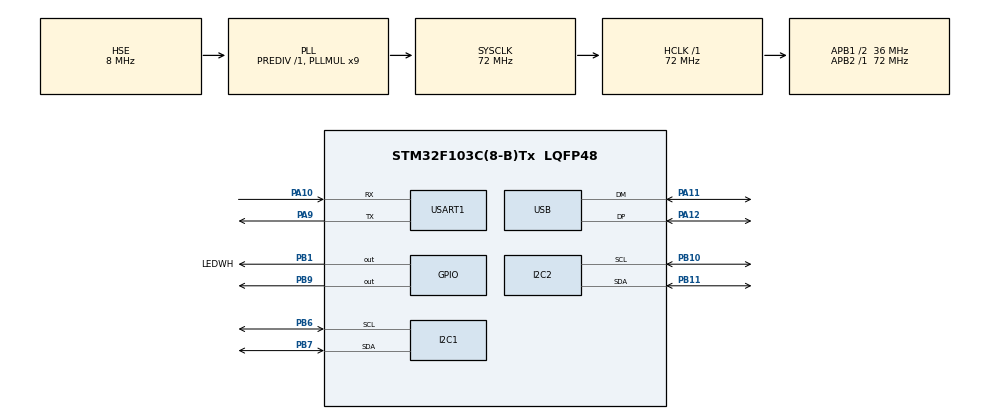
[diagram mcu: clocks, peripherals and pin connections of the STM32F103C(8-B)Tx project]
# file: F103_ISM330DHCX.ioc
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Mcu.Family=STM32F1
Mcu.Name=STM32F103C(8-B)Tx
Mcu.Package=LQFP48
NVIC.PriorityGroup=NVIC_PRIORITYGROUP_4
NVIC.USART1_IRQn=true\:0\:0\:false\:false\:true\:true\:true\:true
NVIC.USB_LP_CAN1_RX0_IRQn=true\:0\:0\:false\:false\:true\:false\:true\:true
PA10.Mode=Asynchronous
PA10.Signal=USART1_RX
PA11.Mode=Device
PA11.Signal=USB_DM
PA12.Mode=Device
PA12.Signal=USB_DP
PA13.Mode=Serial_Wire
PA13.Signal=SYS_JTMS-SWDIO
PA14.Mode=Serial_Wire
PA14.Signal=SYS_JTCK-SWCLK
PA9.Mode=Asynchronous
PA9.Signal=USART1_TX
PB1.GPIO_Label=LEDWH
PB1.Signal=GPIO_Output
PB10.Mode=I2C
PB10.Signal=I2C2_SCL
PB11.Mode=I2C
PB11.Signal=I2C2_SDA
PB6.Mode=I2C
PB6.Signal=I2C1_SCL
PB7.Mode=I2C
PB7.Signal=I2C1_SDA
PB9.Signal=GPIO_Output
PD0-OSC_IN.Mode=HSE-External-Oscillator
PD0-OSC_IN.Signal=RCC_OSC_IN
PD1-OSC_OUT.Mode=HSE-External-Oscillator
PD1-OSC_OUT.Signal=RCC_OSC_OUT
ProjectManager.HeapSize=0x200
ProjectManager.StackSize=0x400
ProjectManager.TargetToolchain=STM32CubeIDE
RCC.AHBFreq_Value=72000000
RCC.APB1CLKDivider=RCC_HCLK_DIV2
RCC.APB1Freq_Value=36000000
RCC.APB1TimFreq_Value=72000000
RCC.APB2Freq_Value=72000000
RCC.APB2TimFreq_Value=72000000
RCC.HCLKFreq_Value=72000000
RCC.PLLMUL=RCC_PLL_MUL9
RCC.SYSCLKFreq_VALUE=72000000
RCC.SYSCLKSource=RCC_SYSCLKSOURCE_PLLCLK
RCC.USBFreq_Value=48000000
RCC.USBPrescaler=RCC_USBCLKSOURCE_PLL_DIV1_5
USART1.VirtualMode=VM_ASYNC
USB_DEVICE.CLASS_NAME_FS=CDC
USB_DEVICE.VirtualMode=Cdc
USB_DEVICE.VirtualModeFS=Cdc_FS
VP_CRC_VS_CRC.Mode=CRC_Activate
VP_USB_DEVICE_VS_USB_DEVICE_CDC_FS.Mode=CDC_FS
board=custom

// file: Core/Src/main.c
/* USER CODE BEGIN Header */
/**
  ******************************************************************************
  * @file           : main.c
  * @brief          : Main program body
  ******************************************************************************
  * @attention
  *
  * Copyright (c) 2022 STMicroelectronics.
  * All rights reserved.
  *
  * This software is licensed under terms that can be found in the LICENSE file
  * in the root directory of this software component.
  * If no LICENSE file comes with this software, it is provided AS-IS.
  *
  ******************************************************************************
  */
/* USER CODE END Header */
#include "main.h"
#include "usb_device.h"

/* USER CODE BEGIN Includes */

#include <string.h>
#include <stdio.h>
#include "ism330dhcx_reg.h"
#include "stm32f1xx_hal.h"
#include "usbd_cdc_if.h"
/* USER CODE END Includes */

/* USER CODE BEGIN PD */
#define	BOOT_TIME          10 //ms
#define	U1_BUFFER_SIZE 100
/* USER CODE END PD */

 CRC_HandleTypeDef hcrc;

I2C_HandleTypeDef hi2c1;
I2C_HandleTypeDef hi2c2;

UART_HandleTypeDef huart1;

/* USER CODE BEGIN PV */
static int16_t data_raw_acceleration[3];
static int16_t data_raw_angular_rate[3];
static int16_t data_raw_temperature;
static float acceleration_mg[3];
static float angular_rate_mdps[3];
static float temperature_degC;
static uint8_t whoamI, rst;
static uint8_t tx_buffer[1000];
uint8_t result;
char buffer[U1_BUFFER_SIZE];
uint8_t *p_usb_rx=NULL;
uint16_t *p_usb_len=NULL;
/* USER CODE END PV */

void SystemClock_Config(void);
static void MX_GPIO_Init(void);
static void MX_CRC_Init(void);
static void MX_USART1_UART_Init(void);
static void MX_I2C1_Init(void);
static void MX_I2C2_Init(void);
/* USER CODE BEGIN PFP */
/*
 *   WARNING:
 *   Functions declare in this section are defined at the end of this file
 *   and are strictly related to the hardware platform used.
 *
 */
static int32_t platform_write(void *handle, uint8_t reg, const uint8_t *bufp,
                              uint16_t len);
static int32_t platform_read(void *handle, uint8_t reg, uint8_t *bufp,
                             uint16_t len);

void ism330dhcx_read_data_polling(void);
void I2C_Scanner(void);
/* USER CODE END PFP */

int main(void)
{

  /* MCU Configuration--------------------------------------------------------*/

  /* Reset of all peripherals, Initializes the Flash interface and the Systick. */
  HAL_Init();

  /* USER CODE BEGIN Init */
  HAL_GPIO_WritePin(GPIOB, GPIO_PIN_9, GPIO_PIN_SET);
  HAL_Delay(100);
  HAL_GPIO_WritePin(GPIOB, GPIO_PIN_9, GPIO_PIN_RESET);
  HAL_Delay(100);
  HAL_GPIO_WritePin(GPIOB, GPIO_PIN_9, GPIO_PIN_SET);

  /* USER CODE END Init */

  /* Configure the system clock */
  SystemClock_Config();

  /* Initialize all configured peripherals */
  MX_GPIO_Init();
  MX_CRC_Init();
  MX_USART1_UART_Init();
  MX_USB_DEVICE_Init();
  MX_I2C1_Init();
  MX_I2C2_Init();
  /* USER CODE BEGIN 2 */

  I2C_Scanner();
  ism330dhcx_read_data_polling();
  /* USER CODE END 2 */

  /* Infinite loop */
  while (1)
  {

    /* USER CODE BEGIN 3 */
	  HAL_GPIO_WritePin(GPIOB, GPIO_PIN_1,GPIO_PIN_RESET);
	  HAL_Delay(100);
	  HAL_GPIO_WritePin(GPIOB, GPIO_PIN_1,GPIO_PIN_SET);
	  HAL_Delay(100);
  }
  /* USER CODE END 3 */
}

void SystemClock_Config(void)
{
  RCC_OscInitTypeDef RCC_OscInitStruct = {0};
  RCC_ClkInitTypeDef RCC_ClkInitStruct = {0};
  RCC_PeriphCLKInitTypeDef PeriphClkInit = {0};

  /** Initializes the RCC Oscillators according to the specified parameters
  * in the RCC_OscInitTypeDef structure.
  */
  RCC_OscInitStruct.OscillatorType = RCC_OSCILLATORTYPE_HSE;
  RCC_OscInitStruct.HSEState = RCC_HSE_ON;
  RCC_OscInitStruct.HSEPredivValue = RCC_HSE_PREDIV_DIV1;
  RCC_OscInitStruct.HSIState = RCC_HSI_ON;
  RCC_OscInitStruct.PLL.PLLState = RCC_PLL_ON;
  RCC_OscInitStruct.PLL.PLLSource = RCC_PLLSOURCE_HSE;
  RCC_OscInitStruct.PLL.PLLMUL = RCC_PLL_MUL9;
  if (HAL_RCC_OscConfig(&RCC_OscInitStruct) != HAL_OK)
  {
    Error_Handler();
  }

  /** Initializes the CPU, AHB and APB buses clocks
  */
  RCC_ClkInitStruct.ClockType = RCC_CLOCKTYPE_HCLK|RCC_CLOCKTYPE_SYSCLK
                              |RCC_CLOCKTYPE_PCLK1|RCC_CLOCKTYPE_PCLK2;
  RCC_ClkInitStruct.SYSCLKSource = RCC_SYSCLKSOURCE_PLLCLK;
  RCC_ClkInitStruct.AHBCLKDivider = RCC_SYSCLK_DIV1;
  RCC_ClkInitStruct.APB1CLKDivider = RCC_HCLK_DIV2;
  RCC_ClkInitStruct.APB2CLKDivider = RCC_HCLK_DIV1;

  if (HAL_RCC_ClockConfig(&RCC_ClkInitStruct, FLASH_LATENCY_2) != HAL_OK)
  {
    Error_Handler();
  }
  PeriphClkInit.PeriphClockSelection = RCC_PERIPHCLK_USB;
  PeriphClkInit.UsbClockSelection = RCC_USBCLKSOURCE_PLL_DIV1_5;
  if (HAL_RCCEx_PeriphCLKConfig(&PeriphClkInit) != HAL_OK)
  {
    Error_Handler();
  }
}

static void MX_CRC_Init(void)
{

  hcrc.Instance = CRC;
  if (HAL_CRC_Init(&hcrc) != HAL_OK)
  {
    Error_Handler();
  }

}

static void MX_I2C1_Init(void)
{

  hi2c1.Instance = I2C1;
  hi2c1.Init.ClockSpeed = 100000;
  hi2c1.Init.DutyCycle = I2C_DUTYCYCLE_2;
  hi2c1.Init.OwnAddress1 = 0;
  hi2c1.Init.AddressingMode = I2C_ADDRESSINGMODE_7BIT;
  hi2c1.Init.DualAddressMode = I2C_DUALADDRESS_DISABLE;
  hi2c1.Init.OwnAddress2 = 0;
  hi2c1.Init.GeneralCallMode = I2C_GENERALCALL_DISABLE;
  hi2c1.Init.NoStretchMode = I2C_NOSTRETCH_DISABLE;
  if (HAL_I2C_Init(&hi2c1) != HAL_OK)
  {
    Error_Handler();
  }

}

static void MX_I2C2_Init(void)
{

  hi2c2.Instance = I2C2;
  hi2c2.Init.ClockSpeed = 100000;
  hi2c2.Init.DutyCycle = I2C_DUTYCYCLE_2;
  hi2c2.Init.OwnAddress1 = 0;
  hi2c2.Init.AddressingMode = I2C_ADDRESSINGMODE_7BIT;
  hi2c2.Init.DualAddressMode = I2C_DUALADDRESS_DISABLE;
  hi2c2.Init.OwnAddress2 = 0;
  hi2c2.Init.GeneralCallMode = I2C_GENERALCALL_DISABLE;
  hi2c2.Init.NoStretchMode = I2C_NOSTRETCH_DISABLE;
  if (HAL_I2C_Init(&hi2c2) != HAL_OK)
  {
    Error_Handler();
  }

}

static void MX_USART1_UART_Init(void)
{

  huart1.Instance = USART1;
  huart1.Init.BaudRate = 115200;
  huart1.Init.WordLength = UART_WORDLENGTH_8B;
  huart1.Init.StopBits = UART_STOPBITS_1;
  huart1.Init.Parity = UART_PARITY_NONE;
  huart1.Init.Mode = UART_MODE_TX_RX;
  huart1.Init.HwFlowCtl = UART_HWCONTROL_NONE;
  huart1.Init.OverSampling = UART_OVERSAMPLING_16;
  if (HAL_UART_Init(&huart1) != HAL_OK)
  {
    Error_Handler();
  }

}

static void MX_GPIO_Init(void)
{
  GPIO_InitTypeDef GPIO_InitStruct = {0};

  /* GPIO Ports Clock Enable */
  __HAL_RCC_GPIOD_CLK_ENABLE();
  __HAL_RCC_GPIOB_CLK_ENABLE();
  __HAL_RCC_GPIOA_CLK_ENABLE();

  /*Configure GPIO pin Output Level */
  HAL_GPIO_WritePin(GPIOB, LEDWH_Pin|GPIO_PIN_9, GPIO_PIN_RESET);

  /*Configure GPIO pins : LEDWH_Pin PB9 */
  GPIO_InitStruct.Pin = LEDWH_Pin|GPIO_PIN_9;
  GPIO_InitStruct.Mode = GPIO_MODE_OUTPUT_PP;
  GPIO_InitStruct.Pull = GPIO_NOPULL;
  GPIO_InitStruct.Speed = GPIO_SPEED_FREQ_LOW;
  HAL_GPIO_Init(GPIOB, &GPIO_InitStruct);

}

/* USER CODE BEGIN 4 */

void I2C_Scanner(void){
	char buffer[100];
	uint8_t i,n;
	  HAL_GPIO_WritePin(LEDWH_GPIO_Port, LEDWH_Pin, GPIO_PIN_SET);
	  HAL_Delay(200);
	  HAL_GPIO_WritePin(LEDWH_GPIO_Port, LEDWH_Pin, GPIO_PIN_RESET);
	  n=snprintf(buffer,U1_BUFFER_SIZE-1,"\r\nI2C BUS #:");
	  HAL_UART_Transmit(&huart1, (uint8_t *) buffer, n, 100);
	 	for (i=1; i<128; i++)
	 	{
	 	  result = HAL_I2C_IsDeviceReady(&hi2c1, (uint16_t)(i<<1), 2, 2);
	 	  if (result != HAL_OK) // HAL_ERROR or HAL_BUSY or HAL_TIMEOUT
	 	  {
	 		  n=snprintf(buffer,U1_BUFFER_SIZE-1,".");
	 		  HAL_UART_Transmit(&huart1, (uint8_t *) buffer, n, 100);
	 		  // No ACK received at that address
	 	  }
	 	  if (result == HAL_OK)
	 	  {
	 		  n=snprintf(buffer,U1_BUFFER_SIZE-1,"[0x%X]", i);
	 		  HAL_UART_Transmit(&huart1, (uint8_t *) buffer, n, 100);
	 		  // Received an ACK at that address
	 	  }
	 	}
	 	n=snprintf(buffer,U1_BUFFER_SIZE-1,"\r\nI2C BUS #2:");
	 	HAL_UART_Transmit(&huart1, (uint8_t *) buffer, n, 100);
	 	HAL_Delay(200);
	 	for (i=1; i<128; i++)
	 	{
	 	  result = HAL_I2C_IsDeviceReady(&hi2c2, (uint16_t)(i<<1), 2, 2);
	 	  if (result != HAL_OK) // HAL_ERROR or HAL_BUSY or HAL_TIMEOUT
	 	  {
	 		  n=snprintf(buffer,U1_BUFFER_SIZE-1,".");
	 		  HAL_UART_Transmit(&huart1, (uint8_t *) buffer, n, 100);
	 		  // No ACK received at that address
	 	  }
	 	  if (result == HAL_OK)
	 	  {
	 		  n=snprintf(buffer,U1_BUFFER_SIZE-1,"[0x%X]", i);
	 		  HAL_UART_Transmit(&huart1, (uint8_t *) buffer, n, 100);
	 		  // Received an ACK at that address
	 	  }
	 	}
	 	HAL_Delay(200);

}

void ism330dhcx_read_data_polling(void)
{
uint8_t led_state=GPIO_PIN_RESET;

  stmdev_ctx_t dev_ctx;

  /* Initialize mems driver interface */
  dev_ctx.write_reg = platform_write;
  dev_ctx.read_reg = platform_read;
  dev_ctx.handle = &hi2c2;
  /* Wait sensor boot time */
  HAL_Delay(BOOT_TIME);
  /* Check device ID */
  ism330dhcx_device_id_get(&dev_ctx, &whoamI);

  if (whoamI != ISM330DHCX_ID)
    while (1);

  /* Restore default configuration */
  ism330dhcx_reset_set(&dev_ctx, PROPERTY_ENABLE);

  do {
    ism330dhcx_reset_get(&dev_ctx, &rst);
  } while (rst);

  /* Start device configuration. */
  ism330dhcx_device_conf_set(&dev_ctx, PROPERTY_ENABLE);
  /* Enable Block Data Update */
  ism330dhcx_block_data_update_set(&dev_ctx, PROPERTY_ENABLE);
  /* Set Output Data Rate 52Hz; shall I increase? */
  ism330dhcx_xl_data_rate_set(&dev_ctx, ISM330DHCX_XL_ODR_52Hz);
  ism330dhcx_gy_data_rate_set(&dev_ctx, ISM330DHCX_GY_ODR_52Hz);
  /* Set full scale;Csabi needs most sensitive settings-to be revised */
  ism330dhcx_xl_full_scale_set(&dev_ctx, ISM330DHCX_2g);
  ism330dhcx_gy_full_scale_set(&dev_ctx, ISM330DHCX_4000dps);
  /* Configure filtering chain(No aux interface)
   * What is it?
   * Accelerometer - LPF1 + LPF2 path
   * What is it?
   */
  ism330dhcx_xl_hp_path_on_out_set(&dev_ctx, ISM330DHCX_LP_ODR_DIV_100);
  ism330dhcx_xl_filter_lp2_set(&dev_ctx, PROPERTY_ENABLE);

  /* Read samples in polling mode (no int) (TODO: INT driven data aquisition/RTOS thread?) */
  while (1) {
    uint8_t reg;
    /*Easy to determine actual data reading frequency*/
    HAL_GPIO_WritePin(LEDWH_GPIO_Port, LEDWH_Pin, led_state);
    led_state=!led_state;
    HAL_Delay(20); /*20ms ensures success if 52Hz is chosen! */
    /* Read output only if new xl value is available */
    ism330dhcx_xl_flag_data_ready_get(&dev_ctx, &reg);

    if (reg) {
      /* Read acceleration field data */

      memset(data_raw_acceleration, 0x00, 3 * sizeof(int16_t));
      ism330dhcx_acceleration_raw_get(&dev_ctx, data_raw_acceleration);
      acceleration_mg[0] =
        ism330dhcx_from_fs2g_to_mg(data_raw_acceleration[0]);
      acceleration_mg[1] =
        ism330dhcx_from_fs2g_to_mg(data_raw_acceleration[1]);
      acceleration_mg[2] =
        ism330dhcx_from_fs2g_to_mg(data_raw_acceleration[2]);
      sprintf((char *)tx_buffer,
              "%012lu,%6.2f,%6.2f,%6.2f,",HAL_GetTick(),
              acceleration_mg[0], acceleration_mg[1], acceleration_mg[2]);
      //tx_com(tx_buffer, strlen((char const *)tx_buffer)); //UART output version if no USB is present
      CDC_Transmit_FS(tx_buffer, strlen((char const *)tx_buffer));
    }

    ism330dhcx_gy_flag_data_ready_get(&dev_ctx, &reg);

    if (reg) {
      /* Read angular rate field data */
      memset(data_raw_angular_rate, 0x00, 3 * sizeof(int16_t));
      ism330dhcx_angular_rate_raw_get(&dev_ctx, data_raw_angular_rate);
      angular_rate_mdps[0] =
        ism330dhcx_from_fs2000dps_to_mdps(data_raw_angular_rate[0]);
      angular_rate_mdps[1] =
        ism330dhcx_from_fs2000dps_to_mdps(data_raw_angular_rate[1]);
      angular_rate_mdps[2] =
        ism330dhcx_from_fs2000dps_to_mdps(data_raw_angular_rate[2]);
      sprintf((char *)tx_buffer,
              "%6.2f,%6.2f,%6.2f,",
              angular_rate_mdps[0], angular_rate_mdps[1], angular_rate_mdps[2]);
      //tx_com(tx_buffer, strlen((char const *)tx_buffer)); //UART output version if no USB is present
      CDC_Transmit_FS(tx_buffer, strlen((char const *)tx_buffer));
    }

    ism330dhcx_temp_flag_data_ready_get(&dev_ctx, &reg);

    if (reg) {
      /* Read temperature data */
      memset(&data_raw_temperature, 0x00, sizeof(int16_t));
      ism330dhcx_temperature_raw_get(&dev_ctx, &data_raw_temperature);
      temperature_degC = ism330dhcx_from_lsb_to_celsius(
                           data_raw_temperature);
      sprintf((char *)tx_buffer,
              "%06.2f\r\n", temperature_degC);
      //tx_com(tx_buffer, strlen((char const *)tx_buffer)); //UART output version if no USB is present
      CDC_Transmit_FS(tx_buffer, strlen((char const *)tx_buffer));
    }
  }
}

static int32_t platform_write(void *handle, uint8_t reg, const uint8_t *bufp,
                              uint16_t len)
{

  HAL_I2C_Mem_Write(handle, ISM330DHCX_I2C_ADD_H, reg, I2C_MEMADD_SIZE_8BIT, (uint8_t*) bufp, len, 1000);

  return 0;
}

static int32_t platform_read(void *handle, uint8_t reg, uint8_t *bufp,
                             uint16_t len)
{

  HAL_I2C_Mem_Read(handle, ISM330DHCX_I2C_ADD_H, reg, I2C_MEMADD_SIZE_8BIT, bufp, len, 1000);

  return 0;
}

/* USER CODE END 4 */

void Error_Handler(void)
{
  /* USER CODE BEGIN Error_Handler_Debug */
  /* User can add his own implementation to report the HAL error return state */
  //__disable_irq();
  while (1)
  {
      sprintf((char *)tx_buffer,"Ooooop, something went wrong %012lu", HAL_GetTick());
      CDC_Transmit_FS(tx_buffer, strlen((char const *)tx_buffer));
      HAL_Delay(500);
  }
  /* USER CODE END Error_Handler_Debug */
}
